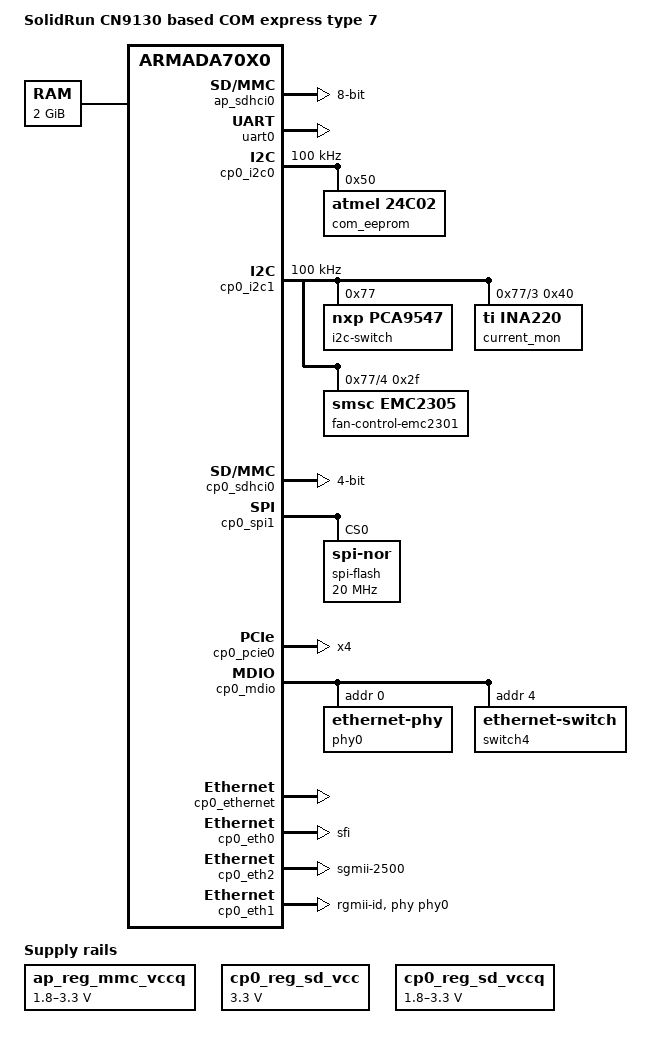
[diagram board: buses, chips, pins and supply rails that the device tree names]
/*
 * Copyright (C) 2020 SolidRun ltd.
 *
 * SPDX-License-Identifier:    GPL-2.0
 * https://spdx.org/licenses
 */

/* cn9130-cex7-A.dts */
#include "cn9130-cex7.dtsi"

/ {
	model = "SolidRun CN9130 based COM express type 7";
	compatible = "marvell,cn9130-db", "marvell,cn91xx", "marvell,cn9030-vd",
		     "marvell,cn9030", "marvell,armada-ap806-quad",
		     "marvell,armada-ap806", "marvell,armada70x0";

	chosen {
		stdout-path = "serial0:115200n8";
	};

	aliases {
		i2c0 = &cp0_i2c0;
		i2c1 = &cp0_i2c1;
		spi0 = &cp0_spi1;
		gpio0 = &ap_gpio0;
		gpio1 = &cp0_gpio0;
		gpio2 = &cp0_gpio1;
	};

	memory@00000000 {
		device_type = "memory";
		reg = <0x0 0x0 0x0 0x80000000>;
	};

	cp0 {
		config-space {
			sdhci@780000 {
				vqmmc-supply = <&cp0_reg_sd_vccq>;
				vmmc-supply = <&cp0_reg_sd_vcc>;
			};
			ap_reg_mmc_vccq: ap_mmc_vccq@0 {
				compatible = "regulator-gpio";
				regulator-name = "ap_mmc_vccq";
				regulator-min-microvolt = <1800000>;
				regulator-max-microvolt = <3300000>;
				gpios = <&cp0_gpio0 26 GPIO_ACTIVE_HIGH>;
				states = <1800000 0x1
					3300000 0x0>;
			};
			cp0_reg_sd_vcc: cp0_sd_vcc@0 {
				compatible = "regulator-fixed";
				regulator-name = "cp_sd_vcc";
				regulator-min-microvolt = <3300000>;
				regulator-max-microvolt = <3300000>;
				regulator-always-on;
				status = "okay";
			};
			cp0_reg_sd_vccq: cp0_sd_vccq@0 {
				compatible = "regulator-gpio";
				regulator-name = "cp0_sd_vccq";
				regulator-min-microvolt = <1800000>;
				regulator-max-microvolt = <3300000>;
				gpios = <&cp0_gpio1 26 GPIO_ACTIVE_HIGH>;
				enable-active-high;
				states = <1800000 0x1
					3300000 0x0>;
			};
		};
	};
};


/***** AP related configuration *****/

&ap_pinctl {
	/* MPP Bus:
	 * SDIO  [0-10, 12]
	 * UART0 [11,19]
	 */
		/*   0 1 2 3 4 5 6 7 8 9 */
	pin-func = < 1 1 1 1 1 1 1 1 1 1
		     1 3 1 0 0 0 0 0 0 3 >;
/*	ap_emmc_pins: emmc-pins-0 {
		marvell,pins = < 0 1 2 3 4 5 6 7
				8 9 10 12 >;
		marvell,function = <1>;
	};*/
};


/* on-board eMMC */
&ap_sdhci0 {
        pinctrl-names = "default";
        pinctrl-0 = <&ap_emmc_pins>; /*defined in armada-ap80x.dtsi */
        vqmmc-supply = <&ap_reg_mmc_vccq>;
        bus-width = <8>;
        status = "okay";
};

&uart0 {
        status = "okay";
};

/****** CP related configuration  ******/

&cp0_pinctl {
	/* MPP Bus:
	*	[0-11,]	RGMII1
	*	[12-16]	SPI1
	*	[17-23]  boot straps
	*	[24]	GPIO - SFP interrupt - eth0
	*	[25] 	boot strap
	*	[26]	GPIO - FAN TACHO
	*	[27] 	GPIO - DDR EVENT
	*	[28-30]	PTP
	*	[31]	GPIO - PWRBTN_N
	*	[32]	GPIO - CS Status
	*	[33]	GPIO - BIOS_DIS_OVERRIDE
	*	[34]	GPIO - SUS_5_N
	*	[35,36]	I2C1
	*	[37,38]	I2C0
	*	[39]	GPIO - PWM
	*	[40,41]	SMI - MDC/MDIO
	*	[42,43]	XSMI - MDC/MDIO
	*	[44-48]	boot strap
	*	[49]	CP0_VHV_EN
	*	[50,51]	UART2
	*	[52]	RCVR_CLK1
	*	[53]	AP_VHV_EN
	*	[54]	RCVR_CLK2
	*	[55-61]	SDIO
	*	[62]	NC
	*/
		   /*   0   1   2   3   4   5   6   7   8   9 */
	pin-func = <	3   3   3   3   3   3   3   3   3   3
			3   3   3   3   3   3   3   0   0   0
			0   0   0   0   0   0   0   0   7   7
			7   0   0   0   0   2   2   2   2   0
			8   8   8   8   0   0   0   0   0   0
			6   6   2   0   2   0xb  0xe 0xe 0xe 0xe
			0xe 0xe 0 >;
};


&cp0_i2c0 {
	pinctrl-names = "default";
	pinctrl-0 = <&cp0_i2c0_pins>;
	status = "okay";
	clock-frequency = <100000>;
	/* M24C0x-MWN */
	com_eeprom@50 {
		compatible = "atmel,24c02";
		reg = <0x50>;
		pagesize = <0x10>;
	};
};

&cp0_i2c1 {
	status = "okay";
	pinctrl-names = "default";
	pinctrl-0 = <&cp0_i2c1_pins>;
	clock-frequency = <100000>;
	i2c-switch@77 {
		compatible = "nxp,pca9547";
		reg = <0x77>;
		#address-cells = <1>;
		#size-cells = <0>;
		clk_gen_i2c: i2c@0 {
			#address-cells = <1>;
			#size-cells = <0>;
			reg = <0>;
			/*connected to clk generator*/
		};
		led_i2c: i2c@1 {
			#address-cells = <1>;
			#size-cells = <0>;
			reg = <1>;
			/* i2c_led connected to gpio expander on carrier according to com-ex type7 */
		};
		cp0_sfp_i2c: i2c@2 {
			#address-cells = <1>;
			#size-cells = <0>;
			reg = <2>;
			/*connected to sfp cp0_eth0*/
		};
		smbus: i2c@3 {
			#address-cells = <1>;
			#size-cells = <0>;
			reg = <3>;
			/* smbus connected to com-ex type7 connector */
			current_mon@40 {
				compatible = "ti,ina220";
				#address-cells = <1>;
				#size-cells = <0>;
				reg = <0x40>;
			};
		};
		therm_i2c: i2c@4 {
			#address-cells = <1>;
			#size-cells = <0>;
			reg = <4>;
			fan-control-emc2301@2f {
				compatible = "smsc,emc2305";
				#address-cells = <1>;
				#size-cells = <0>;
				reg = <0x2f>;
				fan@0 {
					reg = <0>;
					pwm-enable = <0>;
					fan-div = <4>;
				};
			};
		};
	};
};

/* SD CARD */
&cp0_sdhci0 {
	pinctrl-names = "default";
	pinctrl-0 = <&cp0_sdhci_pins
		     &cp0_sdhci_cd_pins>;
	bus-width = <4>;
	status = "okay";
	no-1-8-v;
};


/* SPI NOR  */
&cp0_spi1 {
	pinctrl-names = "default";
	pinctrl-0 = <&cp0_spi0_pins
		     &cp0_spi0_cs1_pins>;
	reg =	<0x700680 0x50>,	/* control */
		<0x2000000 0x1000000>,	/* CS0 */
		<0x2000000 0x1000004>,	/* CS1 */
		<0 0xffffffff>,		/* CS2 */
		<0 0xffffffff>;		/* CS3 */
	status = "okay";

	spi-flash@0 {
		#address-cells = <0x1>;
		#size-cells = <0x1>;
		compatible = "jedec,spi-nor", "spi-flash";
		reg = <0>;
		/* On-board MUX does not allow higher frequencies */
		spi-max-frequency = <20000000>;
	};
};

&cp0_comphy {
	phy0 {
		phy-type = <COMPHY_TYPE_PEX0>;
	};

	phy1 {
		phy-type = <COMPHY_TYPE_PEX0>;
	};

	phy2 {
		phy-type = <COMPHY_TYPE_PEX0>;
	};

	phy3 {
		phy-type = <COMPHY_TYPE_PEX0>;
	};

	phy4 {
		phy-type = <COMPHY_TYPE_SFI0>;
		phy-speed = <COMPHY_SPEED_10_3125G>;
	};

	phy5 {
/*		phy-type = <COMPHY_TYPE_PEX2>;	*/
		phy-type = <COMPHY_TYPE_SGMII2>;
                phy-speed = <COMPHY_SPEED_3_125G>;
	};
};

/* PCIE ADD-ON CARD */
&cp0_pcie0 {
	num-lanes = <4>;
	status = "okay";
};

/*NVME2 */
/*
*&cp0_pcie2 {
*	num-lanes = <1>;
*	status = "okay";
*};
*/

&cp0_mdio {
	status = "okay";
	pinctrl-0 = <&cp0_mdio_pins>;
	phy0: ethernet-phy@0 {
		marvell,reg-init = <3 16 0 0x1a4a>;
		reg = <0>;
	};
	switch4: ethernet-switch@4 {
                reg = <4>;
        };
};

&cp0_ethernet {
	status = "okay";
};

/* 10GE SFP+ */
&cp0_eth0 {
	status = "okay";
	phy-mode = "sfi";
	mod-def0-gpio = <&cp0_gpio0 24 GPIO_ACTIVE_LOW>;
	i2c-bus = <&cp0_sfp_i2c>;
	pinctrl-0 = <&cp0_sfp_present_pins>;
};

/* 2.5G to Topaz switch */
&cp0_eth2 {
        status = "okay";
        phy-mode = "sgmii-2500";
};


/* 1GE PHY over RGMII */
&cp0_eth1 {
	status = "okay";
	phy = <&phy0>;
	phy-mode = "rgmii-id";
};

&cp0_pinctl {
	compatible = "marvell,mvebu-pinctrl", "marvell,armada-8k-cpm-pinctrl";
	bank-name ="cp0-110";

	cp0_i2c0_pins: cp0-i2c-pins-0 {
		marvell,pins = < 37 38 >;
		marvell,function = <2>;
	};
	cp0_i2c1_pins: cp0-i2c-pins-1 {
		marvell,pins = < 35 36 >;
		marvell,function = <2>;
	};
	cp0_ge1_rgmii_pins: cp0-ge-rgmii-pins-0 {
		marvell,pins = < 0 1 2 3 4 5 6 7 8 9 10 11>;
		marvell,function = <3>;
	};
	cp0_sdhci_pins: cp0-sdhi-pins-0 {
		marvell,pins = < 56 57 58 59 60 61 >;
		marvell,function = <14>;
	};
	cp0_sdhci_cd_pins: cp0-sdhci-cd-pins-0 {
		marvell,pins = < 55 >;
		marvell,function = <11>;
	};
	cp0_spi0_pins: cp0-spi-pins-0 {
		marvell,pins = < 13 14 15 16 >;
		marvell,function = <3>;
	};
	cp0_spi0_cs1_pins: cp0-spi-cs1-pins-0 {
		marvell,pins = < 12 >;
		marvell,function = <3>;
	};
	cp0_mdio_pins: cp0-mdio-pins {
                marvell,pins = < 40 41 >;
                marvell,function = <8>;
        };
	cp0_sfp_present_pins: sfp-present-pins {
                        marvell,pins = < 24 >;
                        marvell,function = <0>;
	};
	fan_pwm_pins: fan-pwm-pins {
                        marvell,pins = < 39 >;
                        marvell,function = <0>;
	};

};
